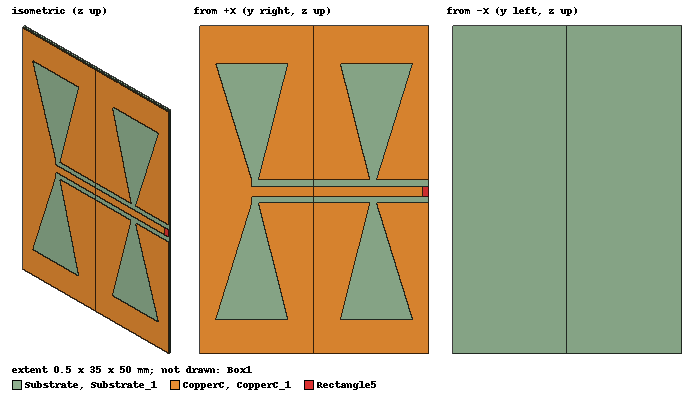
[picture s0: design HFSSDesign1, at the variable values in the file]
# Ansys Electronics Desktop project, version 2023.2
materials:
  vacuum: permittivity=1
  copper: permeability=0.999991 conductivity=58000000
  Rogers RO3203 (tm): permittivity=3.02 dielectric_loss_tangent=0.0016

design HFSSDesign1 (HFSS, HFSS Terminal Network, model units mm)
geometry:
  Substrate [Rogers RO3203 (tm)] = box(corner=(0mm, 0mm, 0mm), size=(-0.5mm, 17.5mm, 50mm))
  CopperC = rectangle(corner=(0mm, 0mm, 50mm), y_size=17.5mm, z_size=-50mm)
  Polyline1 = polyline(x=0mm, yz in mm: (2.5, 5.25) (13.5, 5.25) (9, 23) (8, 23) (2.5, 5.25), closed, covered)
  Polyline1_1 = Polyline1.duplicate_mirror(point=(0mm, 8mm, 24.75mm), normal=(0mm, 0mm, 1mm))
  CopperC.subtract(Polyline1, Polyline1_1)
  Box1 [vacuum] = box(corner=(-25.5mm, -25mm, -25mm), size=(50mm, 86.5mm, 100mm))
  Rectangle1 = rectangle(corner=(0mm, 8mm, 26.5mm), y_size=9.5mm, z_size=-1mm)
  Rectangle2 = rectangle(corner=(0mm, 8mm, 23mm), y_size=9.5mm, z_size=1mm)
  CopperC.subtract(Rectangle1, Rectangle2)
  Substrate_1 [Rogers RO3203 (tm)] = Substrate.duplicate_mirror(point=(0mm, 17.5mm, 50mm), normal=(0mm, 1mm, 0mm))
  CopperC_1 = CopperC.duplicate_mirror(point=(0mm, 17.5mm, 50mm), normal=(0mm, 1mm, 0mm))
  Rectangle3 = rectangle(corner=(0mm, 27mm, 26.5mm), y_size=8mm, z_size=-1mm)
  Rectangle4 = rectangle(corner=(0mm, 27mm, 24mm), y_size=8mm, z_size=-1mm)
  CopperC_1.subtract(Rectangle3, Rectangle4)
  Rectangle5 = rectangle(corner=(0mm, 35mm, 25.5mm), y_size=-1mm, z_size=-1.5mm)
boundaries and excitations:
  FiniteCond1: Finite Conductivity Objects=CopperC UseMaterial Material=copper IsInternal
  Rad1: Radiation Objects=Box1
  FiniteCond2: Finite Conductivity Objects=CopperC_1 UseMaterial Material=copper IsInternal
  1: Lumped Port Objects=Rectangle5 LumpedPortType=Modal Modes{Mode1{IntLine{(0, 34.5, 24) -> (0, 34.5, 25.5)} CharImp=Zpi}} Impedance=50ohm
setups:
  Setup1: HfssDriven Frequency=6GHz MaxDeltaS=0.02 MaximumPasses=6 MinimumPasses=1 MinimumConvergedPasses=1 PercentRefinement=30 BasisOrder=1 PortAccuracy=2 DrivenSolverType="Direct Solver"
    sweep Sweep: 3GHz to 9GHz, 401 points; Type=Fast SaveFields
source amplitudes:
  1:1: 1V 0deg
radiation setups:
  Infinite Sphere1: Infinite Sphere Theta=0deg..180deg step 2deg Phi=-180deg..180deg step 2deg
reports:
  S Parameter Plot 1: dB(S(1,1)) vs Freq on Setup1 : Sweep; markers MX1 at x=8.0000663e+09
  Gain Plot 1: dB(GainPhi), dB(GainTheta) vs Phi, Theta on Setup1 : Sweep, Infinite Sphere1 [Freq=6GHz]
  Directivity Plot 1: dB(DirPhi), dB(DirTheta) vs Theta, Phi on Setup1 : Sweep, Infinite Sphere1 [Freq=6GHz]
